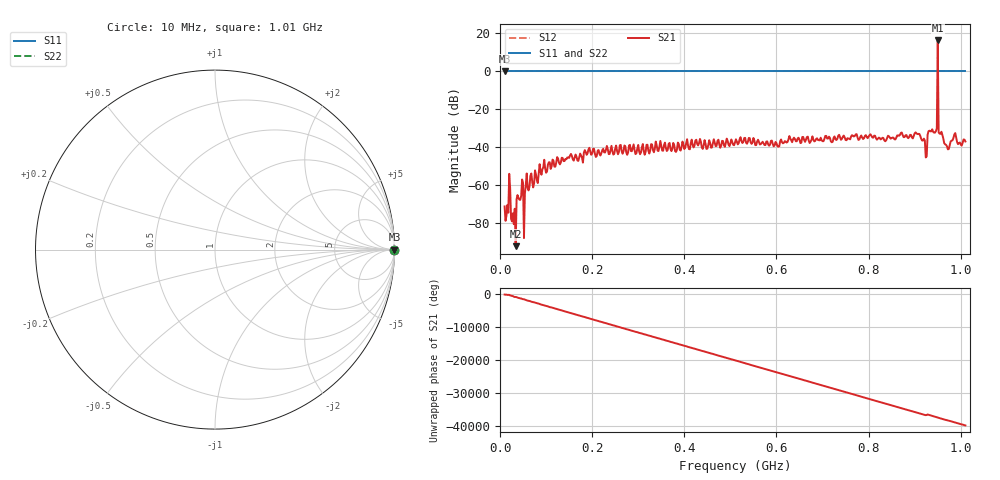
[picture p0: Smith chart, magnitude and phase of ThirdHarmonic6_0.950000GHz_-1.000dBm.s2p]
! 8/16/2025 6:51:42 AM
! C:\ANRITSUVNA\TEMP\TEMP.S2P
! CHANNEL.1
! TR.MEASUREMENT
! RAW.DATA
! RF.CORRECTION.OFF
! AVERAGING.OFF
! IF.BANDWIDTH: 5KHZ
! SWEEPTYPE:  FREQ.SWEEP(Linear)
! Reference Plane Port Info
! PORT:  PORT1  PORT2
! DISTANCE:  0  m  0  m
! TIME:  0  s  0  s
! PHASE.OFFSET:  0  deg.  0  deg.
! LOSS:  0  dB  0  dB
! REF.LOSS:  0  dB  0  dB
! REF.FREQ:  0  Hz  0  Hz
! Power Info
! POWER:  -20  dBm  -20  dBm
! EFF.POWER:  -20  dBm  -20  dBm
! SOURCE.ATTEN:  0  dB  0  dB
! TEST.ATTEN:  0  dB  0  dB
# GHZ S RI R 50.0
! FREQ.GHZ  S11RE  S11IM  S21RE  S21IM  S12RE  S12IM  S22RE  S22IM
!; PortSelection: Port_12
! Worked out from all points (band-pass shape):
!   501 points, 10 MHz to 1.01 GHz, reference 50 ohm
!   highest |S21| = 16.30 dB at 950 MHz (marker M1); lowest = -92.5 dB at 34 MHz (marker M2)
!   |S21| within 3 dB of the highest: 949.8711 MHz to 950.1233 MHz (252.1 kHz wide, 0.0265 % of centre)
!   lowest |S11| = 0.0 dB at 10 MHz (marker M3)
!   |S11| at or under -10 dB: nowhere
!   |S22| runs from 0.0 to 0.0 dB; largest |S21 - S12| = 5.8
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0.01  1 0  0.000193 -0.000183  1 0  1 0
0.018  1 0  -0.00016 -8.78e-05  1 0  1 0
0.028  1 0  -0.000171 -3.83e-05  1 0  1 0
0.034  1 0  1.48e-05 -1.85e-05  1 0  1 0
0.046  1 0  -0.000452 -0.000234  1 0  1 0
0.092  1 0  0.00083 0.00243  1 0  1 0
0.178  1 0  -0.00513 -0.000553  1 0  1 0
0.344  1 0  0.00743 -0.00231  1 0  1 0
0.51  1 0  -0.0118 0.00557  1 0  1 0
0.678  1 0  -0.0139 -0.013  1 0  1 0
0.844  1 0  0.0182 0.00566  1 0  1 0
0.906  1 0  0.0179 0.0124  1 0  1 0
0.922  1 0  -0.00766 0.0127  1 0  1 0
0.932  1 0  0.00411 0.0265  1 0  1 0
0.944  1 0  0.0143 -0.0191  1 0  1 0
0.946  1 0  -0.0169 -0.0198  1 0  1 0
0.95  1 0  4.8 4.424  1 0  1 0
0.954  1 0  -0.0134 -0.018  1 0  1 0
0.956  1 0  -0.0208 0.00784  1 0  1 0
0.97  1 0  0.00698 -0.0077  1 0  1 0
0.986  1 0  0.0097 0.0189  1 0  1 0
1.01  1 0  -0.0137 0.00222  1 0  1 0
